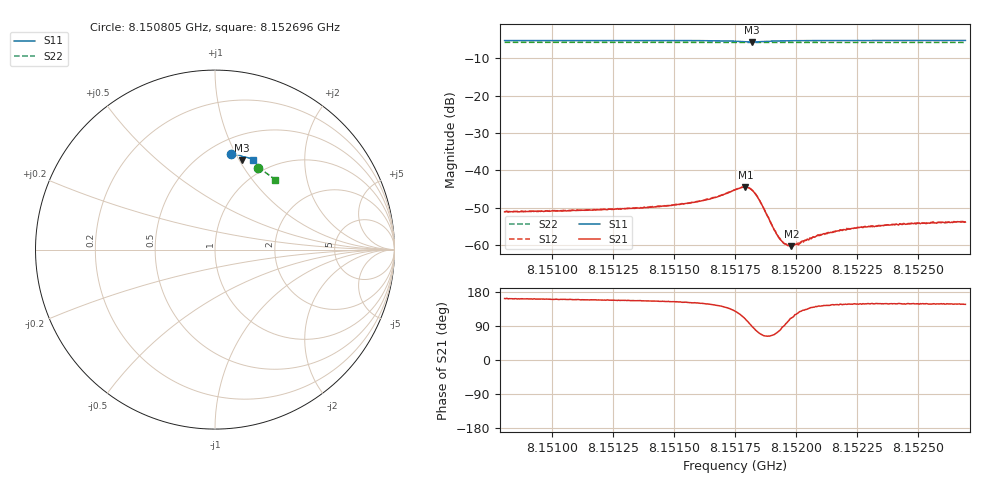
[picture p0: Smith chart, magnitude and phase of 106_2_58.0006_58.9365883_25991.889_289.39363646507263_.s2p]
#  HZ  S  RI  R  50.00
! Rohde & Schwarz Vector Network Analyzer
! Rohde-Schwarz,ZNB20-2Port,1311601062101988,3.16
! Created: UTC 3/21/2024, 12:55:01 AM
! freq[Hz]  re:S11  im:S11  re:S21  im:S21  re:S12  im:S12  re:S22  im:S22
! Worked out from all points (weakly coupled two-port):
!   401 points, 8.150805 GHz to 8.152696 GHz, reference 50 ohm
!   highest |S21| = -44.52 dB at 8.151793 GHz (marker M1); lowest = -60.3 dB at 8.151982 GHz (marker M2)
!   lowest |S11| = -5.7 dB at 8.151821 GHz (marker M3), VSWR 3.16, Z = 37.6 + j51.3 ohm
!   |S11| at or under -10 dB: nowhere
!   |S22| runs from -5.8 to -5.8 dB; largest |S21 - S12| = 0.00013
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8.1508046e9  0.0894 0.5349  -0.00265 0.000851  -0.00265 0.0009  0.2385 0.456
8.1511214e9  0.1118 0.5311  -0.00272 0.00104  -0.00274 0.00109  0.2562 0.4458
8.1514382e9  0.1351 0.5258  -0.00294 0.00138  -0.00299 0.00144  0.2735 0.435
8.151547e9  0.1437 0.5232  -0.0032 0.00165  -0.00316 0.00172  0.2795 0.4311
8.1516179e9  0.1498 0.5205  -0.00337 0.002  -0.00334 0.00209  0.2832 0.4283
8.1516794e9  0.1557 0.5169  -0.00357 0.00261  -0.00356 0.0027  0.2865 0.4261
8.1517503e9  0.1613 0.5079  -0.00346 0.00425  -0.00341 0.00431  0.29 0.4231
8.1517928e9  0.158 0.499  -0.00184 0.00565  -0.00175 0.00575  0.292 0.4214
8.151807e9  0.1542 0.4973  -0.000836 0.00574  -0.000742 0.00578  0.2925 0.4209
8.1518212e9  0.15 0.4976  0.000202 0.00539  0.000249 0.00541  0.293 0.4204
8.1518354e9  0.1466 0.5001  0.000947 0.00466  0.00103 0.0047  0.2936 0.4199
8.1518496e9  0.1449 0.5036  0.00131 0.00382  0.00137 0.00381  0.2944 0.4196
8.151911e9  0.1499 0.5143  0.000624 0.00147  0.000635 0.00147  0.2976 0.4178
8.15193e9  0.1526 0.5155  0.0003 0.00123  0.000337 0.00121  0.2987 0.417
8.1519441e9  0.1544 0.5161  6.46e-05 0.00111  0.000121 0.00111  0.2994 0.4166
8.1519583e9  0.1562 0.5165  -9.72e-05 0.00102  -8.57e-05 0.00103  0.3002 0.416
8.151982e9  0.1588 0.5166  -0.000344 0.000902  -0.000363 0.000917  0.3015 0.415
8.1520671e9  0.1671 0.5161  -0.000941 0.000828  -0.00093 0.000847  0.306 0.4118
8.1521144e9  0.1713 0.5154  -0.00114 0.000838  -0.0011 0.000838  0.3085 0.4099
8.1522089e9  0.1787 0.5135  -0.00134 0.00088  -0.00139 0.000932  0.3132 0.406
8.1523839e9  0.1915 0.5096  -0.00158 0.000969  -0.00157 0.00101  0.3219 0.3988
8.1526959e9  0.2127 0.5018  -0.0017 0.00111  -0.00171 0.00113  0.337 0.3857
